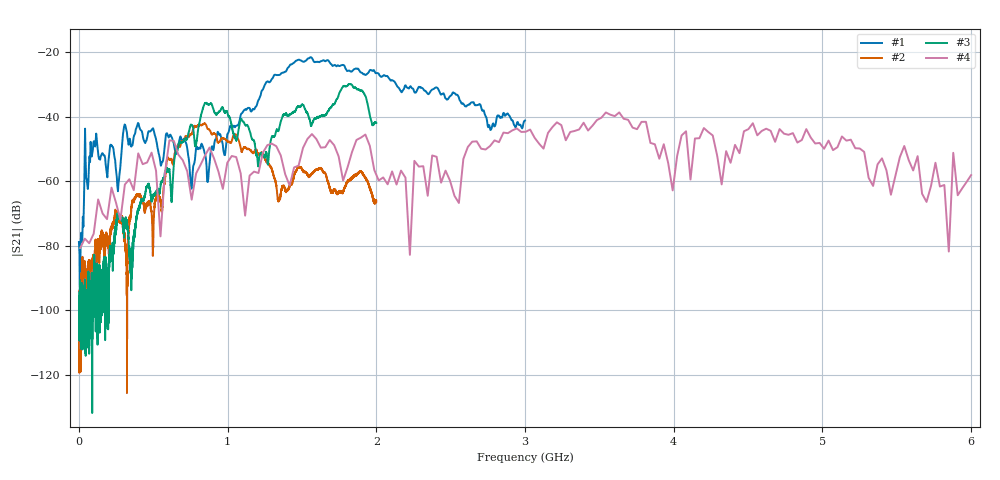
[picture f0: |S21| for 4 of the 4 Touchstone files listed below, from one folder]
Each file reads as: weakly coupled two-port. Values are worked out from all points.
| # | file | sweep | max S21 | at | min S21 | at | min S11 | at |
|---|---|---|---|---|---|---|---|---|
| 1 | 002_PicoS11_PEDOT PSS Square Dipole to 1-6GHz Dipole.s2p | 500 kHz to 3 GHz | -21.63 dB | 1.556 GHz | -106.5 dB | 7.999 MHz | -15.8 dB | 1.628 GHz |
| 2 | Alexander_implant_Copper_pHANTOM_to_Horn-50CM.s2p | 1 MHz to 2 GHz | -42.04 dB | 846.3 MHz | -125.7 dB | 323.7 MHz | -14.0 dB | 10.42 MHz |
| 3 | Alexander_implant_Copper_space_to_Horn-50CM.s2p | 1 MHz to 2 GHz | -29.90 dB | 1.824 GHz | -131.9 dB | 89.81 MHz | -1.3 dB | 2 GHz |
| 4 | CopperFreespaceLOS_7thMay10MHzto6Ghz.s2p | 10 MHz to 6 GHz | -38.73 dB | 3.634 GHz | -82.9 dB | 2.226 GHz | -15.9 dB | 4.443 GHz |
